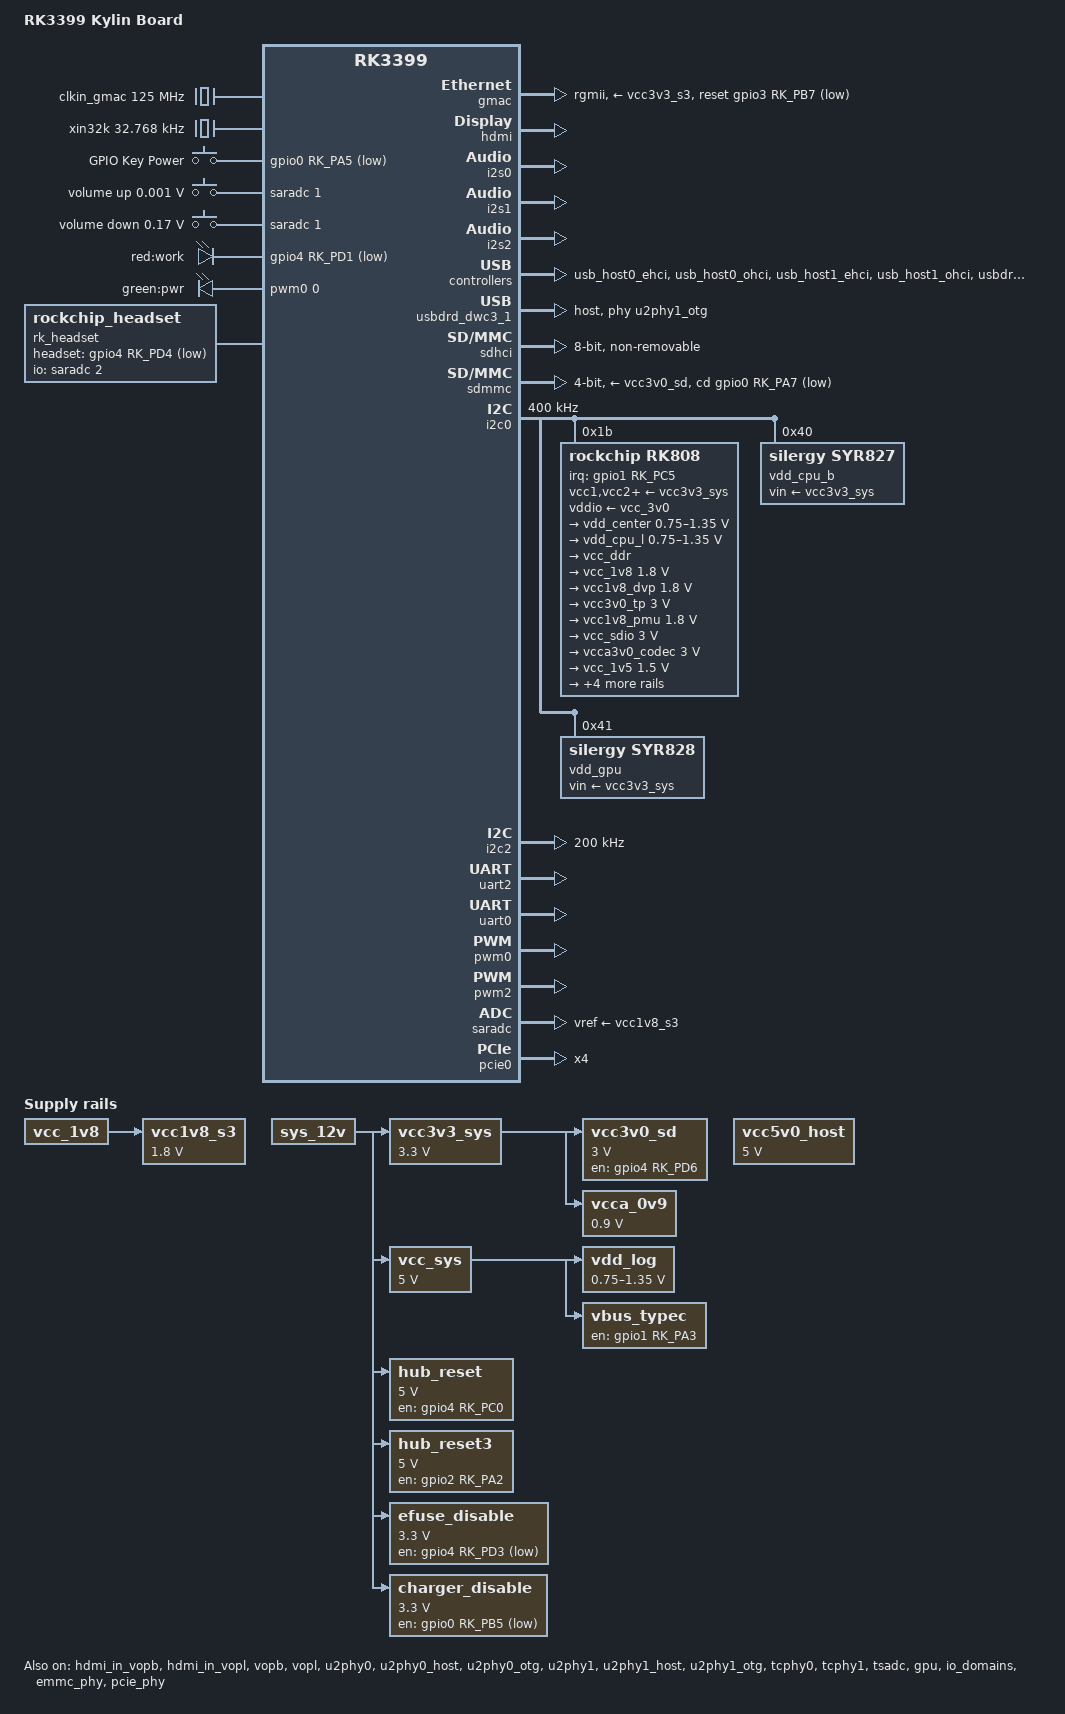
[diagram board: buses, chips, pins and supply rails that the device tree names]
// SPDX-License-Identifier: GPL-2.0-or-later

/dts-v1/;

#include <dt-bindings/gpio/gpio.h>
#include <dt-bindings/input/linux-event-codes.h>
#include <dt-bindings/leds/common.h>
#include <dt-bindings/pinctrl/rockchip.h>
#include <dt-bindings/pwm/pwm.h>
#include "rk3399.dtsi"

/ {
	model = "RK3399 Kylin Board";
	compatible = "rockchip,rk3399-kylin", "rockchip,rk3399";

	chosen {
		stdout-path = "serial2:1500000n8";
	};

	aliases {
		ethernet0 = &gmac;
		mmc0 = &sdhci;
		mmc1 = &sdmmc;
		mmc2 = &sdio0;
	};

	clkin_gmac: external-gmac-clock {
		compatible = "fixed-clock";
		clock-frequency = <125000000>;
		clock-output-names = "clkin_gmac";
		#clock-cells = <0>;
	};

	xin32k: xin32k {
		compatible = "fixed-clock";
		clock-frequency = <32768>;
		clock-output-names = "xin32k";
		#clock-cells = <0>;
	};

	sys_12v: sys-12v {
		compatible = "regulator-fixed";
		regulator-name = "sys_12v";
		regulator-always-on;
		regulator-boot-on;
	};

	vcc3v3_sys: vcc3v3-sys {
		compatible = "regulator-fixed";
		regulator-name = "vcc3v3_sys";
		regulator-always-on;
		regulator-boot-on;
		regulator-min-microvolt = <3300000>;
		regulator-max-microvolt = <3300000>;
		vin-supply = <&sys_12v>;
	};

	/*
	 * vcc5v0_host: no GPIO, always-on (enable-active-high is
	 * informational; USB host power is kept on at all times).
	 */
	vcc5v0_host: vcc5v0-host {
		compatible = "regulator-fixed";
		regulator-name = "vcc5v0_host";
		regulator-min-microvolt = <5000000>;
		regulator-max-microvolt = <5000000>;
		regulator-always-on;
		enable-active-high;
	};

	/*
	 * vcc3v0_sd: SD card power rail.
	 * Enable GPIO: GPIO4_D6 (gpio4 pin 30), active-high.
	 * The vendor DTB omits gpio= but configures the pin via
	 * pinctrl vcc3v0_sd_en; restored here for mainline.
	 */
	vcc3v0_sd: vcc3v0-sd {
		compatible = "regulator-fixed";
		enable-active-high;
		gpio = <&gpio4 RK_PD6 GPIO_ACTIVE_HIGH>;
		pinctrl-names = "default";
		pinctrl-0 = <&vcc3v0_sd_en>;
		regulator-name = "vcc3v0_sd";
		regulator-boot-on;
		regulator-min-microvolt = <3000000>;
		regulator-max-microvolt = <3000000>;
		vin-supply = <&vcc3v3_sys>;
	};

	vcc1v8_s3: vcc1v8-s3 {
		compatible = "regulator-fixed";
		regulator-name = "vcc1v8_s3";
		regulator-always-on;
		regulator-boot-on;
		regulator-min-microvolt = <1800000>;
		regulator-max-microvolt = <1800000>;
		vin-supply = <&vcc_1v8>;
	};

	vcca_0v9: vcca-0v9 {
		compatible = "regulator-fixed";
		regulator-name = "vcca_0v9";
		regulator-always-on;
		regulator-boot-on;
		regulator-min-microvolt = <900000>;
		regulator-max-microvolt = <900000>;
		vin-supply = <&vcc3v3_sys>;
	};

	vcc_sys: vcc-sys {
		compatible = "regulator-fixed";
		enable-active-high;
		regulator-name = "vcc_sys";
		regulator-boot-on;
		regulator-min-microvolt = <5000000>;
		regulator-max-microvolt = <5000000>;
		vin-supply = <&sys_12v>;
	};

	/* PWM-controlled regulator for VDD_LOG */
	vdd_log: vdd-log {
		compatible = "pwm-regulator";
		pwms = <&pwm2 0 25000 PWM_POLARITY_INVERTED>;
		rockchip,pwm_id = <2>;
		rockchip,pwm_voltage = <900000>;
		regulator-name = "vdd_log";
		regulator-min-microvolt = <750000>;
		regulator-max-microvolt = <1350000>;
		vin-supply = <&vcc_sys>;
		regulator-always-on;
		regulator-boot-on;
	};

	/* USB Hub reset GPIO regulators */
	hub_reset: hub-reset {
		compatible = "regulator-fixed";
		enable-active-high;
		gpio = <&gpio4 RK_PC0 GPIO_ACTIVE_HIGH>;
		regulator-name = "hub_reset";
		regulator-always-on;
		regulator-boot-on;
		regulator-min-microvolt = <5000000>;
		regulator-max-microvolt = <5000000>;
		vin-supply = <&sys_12v>;
	};

	hub_reset3: hub-reset3 {
		compatible = "regulator-fixed";
		enable-active-high;
		gpio = <&gpio2 RK_PA2 GPIO_ACTIVE_HIGH>;
		regulator-name = "hub_reset3";
		regulator-always-on;
		regulator-boot-on;
		regulator-min-microvolt = <5000000>;
		regulator-max-microvolt = <5000000>;
		vin-supply = <&sys_12v>;
	};

	/* GPIO4_D3 active-low: holds eFuse in reset (disabled = powered) */
	efuse_disable: efuse-disable {
		compatible = "regulator-fixed";
		enable-active-low;
		gpio = <&gpio4 RK_PD3 GPIO_ACTIVE_LOW>;
		regulator-name = "efuse_disable";
		regulator-always-on;
		regulator-boot-on;
		regulator-min-microvolt = <3300000>;
		regulator-max-microvolt = <3300000>;
		vin-supply = <&sys_12v>;
	};

	/* GPIO0_B5 active-low: disables charger IC */
	charger_disable: charger-disable {
		compatible = "regulator-fixed";
		enable-active-low;
		gpio = <&gpio0 RK_PB5 GPIO_ACTIVE_LOW>;
		regulator-name = "charger_disable";
		regulator-always-on;
		regulator-boot-on;
		regulator-min-microvolt = <3300000>;
		regulator-max-microvolt = <3300000>;
		vin-supply = <&sys_12v>;
	};

	/* VBUS for USB Type-C port 0, GPIO1_A3 active-high */
	vbus_typec: vbus-typec-regulator {
		compatible = "regulator-fixed";
		enable-active-high;
		gpio = <&gpio1 RK_PA3 GPIO_ACTIVE_HIGH>;
		pinctrl-names = "default";
		pinctrl-0 = <&vcc5v0_typec0_en>;
		regulator-name = "vbus_typec";
		vin-supply = <&vcc_sys>;
	};

	sdio_pwrseq: sdio-pwrseq {
		compatible = "mmc-pwrseq-simple";
		clocks = <&rk808 1>;
		clock-names = "ext_clock";
		pinctrl-names = "default";
		pinctrl-0 = <&wifi_enable_h>;
		/* GPIO0_A2 active-low: WiFi module enable (reset-gpios) */
		reset-gpios = <&gpio0 RK_PA2 GPIO_ACTIVE_LOW>;
		status = "disabled";
	};

	hdmi_sound: hdmi-sound {
		compatible = "rockchip,hdmi";
		simple-audio-card,format = "i2s";
		simple-audio-card,mclk-fs = <256>;
		simple-audio-card,name = "hdmi-sound";
		status = "okay";
		rockchip,mclk-fs = <256>;
		rockchip,card-name = "rockchip-hdmi0";
		rockchip,cpu = <&i2s2>;
		rockchip,codec = <&hdmi>;
		rockchip,jack-det;

		simple-audio-card,cpu {
			sound-dai = <&i2s2>;
		};

		simple-audio-card,codec {
			sound-dai = <&hdmi>;
		};
	};

	gpio_keys: gpio-keys {
		compatible = "gpio-keys";
		autorepeat;
		pinctrl-names = "default";
		pinctrl-0 = <&pwrbtn>;

		button-power {
			gpios = <&gpio0 RK_PA5 GPIO_ACTIVE_LOW>;
			linux,code = <KEY_POWER>;
			label = "GPIO Key Power";
			linux,input-type = <EV_KEY>;
			gpio-key,wakeup = <1>;
			debounce-interval = <100>;
		};
	};

	adc_keys: adc-keys {
		compatible = "adc-keys";
		io-channels = <&saradc 1>;
		io-channel-names = "buttons";
		keyup-threshold-microvolt = <1800000>;
		poll-interval = <100>;

		vol-up-key {
			label = "volume up";
			linux,code = <KEY_VOLUMEUP>;
			press-threshold-microvolt = <1000>;
		};

		vol-down-key {
			label = "volume down";
			linux,code = <KEY_VOLUMEDOWN>;
			press-threshold-microvolt = <170000>;
		};
	};

	leds_gpio: leds-gpio {
		compatible = "gpio-leds";
		pinctrl-names = "default";
		pinctrl-0 = <&work_led_pin>;

		work_led: led-work {
			label = "red:work";
			/* GPIO4_D1 active-low */
			gpios = <&gpio4 RK_PD1 GPIO_ACTIVE_LOW>;
			default-state = "on";
			linux,default-trigger = "heartbeat";
		};
	};

	leds_pwm: leds-pwm {
		compatible = "pwm-leds";

		pwr_led: led-pwr {
			label = "green:pwr";
			/* pwm0 ch0, period 25000 ns, inverted */
			pwms = <&pwm0 0 25000 PWM_POLARITY_INVERTED>;
			max-brightness = <255>;
			default-state = "on";
		};
	};

	rk_headset: rk-headset {
		compatible = "rockchip_headset";
		/* GPIO4_D4 active-low: headphone detect */
		headset_gpio = <&gpio4 RK_PD4 GPIO_ACTIVE_LOW>;
		pinctrl-names = "default";
		pinctrl-0 = <&hp_det_l>;
		io-channels = <&saradc 2>;
	};
};

&cpu_l0 { cpu-supply = <&vdd_cpu_l>; };
&cpu_l1 { cpu-supply = <&vdd_cpu_l>; };
&cpu_l2 { cpu-supply = <&vdd_cpu_l>; };
&cpu_l3 { cpu-supply = <&vdd_cpu_l>; };
&cpu_b0 { cpu-supply = <&vdd_cpu_b>; };
&cpu_b1 { cpu-supply = <&vdd_cpu_b>; };


&gmac {
	/*
	 * RGMII with external 125 MHz clock input.
	 * TX delay: 0x28, RX delay: 0x24 (vendor calibrated).
	 * PHY reset: GPIO3_B7 (gpio3 pin 15), active-low.
	 * phy-supply: vcc3v3_s3 (SWITCH_REG1 from RK808).
	 */
	assigned-clocks = <&cru SCLK_RMII_SRC>;
	assigned-clock-parents = <&clkin_gmac>;
	clock_in_out = "input";
	phy-supply = <&vcc3v3_s3>;
	phy-mode = "rgmii";
	pinctrl-names = "default";
	pinctrl-0 = <&rgmii_pins>;
	snps,reset-gpio = <&gpio3 RK_PB7 GPIO_ACTIVE_LOW>;
	snps,reset-active-low;
	snps,reset-delays-us = <0 10000 50000>;
	tx_delay = <0x28>;
	rx_delay = <0x24>;
	snps,txpbl = <4>;
	status = "okay";
};


&hdmi {
	/*
	 * DDC on i2c2 (ff120000, 200 kHz).
	 * CEC pin: GPIO4_C7 via hdmi_cec pinctrl.
	 * Connected to both VOPB and VOPL outputs (via rk3399.dtsi ports).
	 */
	ddc-i2c-bus = <&i2c2>;
	pinctrl-names = "default";
	pinctrl-0 = <&hdmi_cec>;
	status = "okay";
};

&hdmi_in_vopb {
	status = "okay";
};

&hdmi_in_vopl {
	status = "okay";
};

&vopb {
	status = "okay";
	assigned-clocks = <&cru DCLK_VOP0>, <&cru HCLK_VOP0>;
	assigned-clock-rates = <400000000>, <100000000>;
};

&vopb_mmu {
	status = "okay";
};

&vopl {
	status = "okay";
	assigned-clocks = <&cru DCLK_VOP1>, <&cru HCLK_VOP1>;
	assigned-clock-rates = <400000000>, <100000000>;
};

&vopl_mmu {
	status = "okay";
};

/* i2s0 @ ff880000: 8-channel playback & capture */
&i2s0 {
	rockchip,playback-channels = <8>;
	rockchip,capture-channels = <8>;
	status = "okay";
};

/* i2s1 @ ff890000: 2-channel */
&i2s1 {
	rockchip,playback-channels = <2>;
	rockchip,capture-channels = <2>;
	status = "okay";
};

/* i2s2 @ ff8a0000: used as CPU DAI for HDMI audio */
&i2s2 {
	status = "okay";
};

/*
 * USB Host 0 (fe380000 EHCI + fe3a0000 OHCI):
 *   USB2 PHY0 host-port (u2phy0_host).
 *   phy-supply: vcc5v0_host (always-on).
 */
&usb_host0_ehci {
	status = "okay";
};

&usb_host0_ohci {
	status = "okay";
};

/*
 * USB Host 1 (fe3c0000 EHCI + fe3e0000 OHCI):
 *   USB2 PHY1 host-port (u2phy1_host).
 *   phy-supply: vcc5v0_host (always-on).
 */
&usb_host1_ehci {
	status = "okay";
};

&usb_host1_ohci {
	status = "okay";
};

&u2phy0 {
	status = "okay";
};

&u2phy0_host {
	phy-supply = <&vcc5v0_host>;
	status = "okay";
};

&u2phy0_otg {
	status = "okay";
};

&u2phy1 {
	status = "okay";
};

&u2phy1_host {
	phy-supply = <&vcc5v0_host>;
	status = "okay";
};

&u2phy1_otg {
	status = "okay";
};

/*
 * Type-C PHY 0 (ff7c0000): provides DP and USB3 for usbdrd3_0.
 * Type-C PHY 1 (ff800000): provides DP and USB3 for usbdrd3_1.
 */
&tcphy0 {
	status = "okay";
};

&tcphy1 {
	status = "okay";
};

/*
 * usbdrd3_0 (fe800000): USB3 DRD controller 0.
 * Inner dwc3: dr_mode = "otg", disabled (no Type-C connector wired
 * up as default host on this board per vendor DTB).
 */
&usbdrd3_0 {
	status = "okay";
};

&usbdrd_dwc3_0 {
	dr_mode = "otg";
	phy-names = "usb2-phy", "usb3-phy";
	phys = <&u2phy0_otg>, <&tcphy0_usb3>;
	phy_type = "utmi_wide";
	snps,dis_enblslpm_quirk;
	snps,dis-u2-freeclk-exists-quirk;
	snps,dis_u2_susphy_quirk;
	snps,dis-del-phy-power-chg-quirk;
	snps,dis-tx-ipgap-linecheck-quirk;
	snps,xhci-trb-ent-quirk;
	status = "disabled";
};

/*
 * usbdrd3_1 (fe900000): USB3 DRD controller 1.
 * Inner dwc3: dr_mode = "host" (USB3 host port on board).
 */
&usbdrd3_1 {
	status = "okay";
};

&usbdrd_dwc3_1 {
	dr_mode = "host";
	phy-names = "usb2-phy", "usb3-phy";
	phys = <&u2phy1_otg>, <&tcphy1_usb3>;
	phy_type = "utmi_wide";
	snps,dis_enblslpm_quirk;
	snps,dis-u2-freeclk-exists-quirk;
	snps,dis_u2_susphy_quirk;
	snps,dis-del-phy-power-chg-quirk;
	snps,dis-tx-ipgap-linecheck-quirk;
	snps,xhci-trb-ent-quirk;
	status = "okay";
};

&sdhci {
	/*
	 * eMMC HS400 1.8V, 8-bit bus, non-removable.
	 * Clock: 200 MHz (assigned in rk3399.dtsi).
	 */
	bus-width = <8>;
	mmc-hs400-1_8v;
	mmc-hs400-enhanced-strobe;
	no-sdio;
	no-sd;
	non-removable;
	keep-power-in-suspend;
	status = "okay";
};

&sdmmc {
	/*
	 * TF/SD card slot, 4-bit bus.
	 * CD: GPIO0_B7 (gpio0 pin 7), active-low (card present = low).
	 * vmmc:  vcc3v0_sd (GPIO4_D6 controlled).
	 * vqmmc: vcc_sdio  (RK808 LDO_REG4, 3.0 V).
	 * clock-frequency: 50 MHz (SD HS).
	 */
	clock-frequency = <50000000>;
	clock-freq-min-max = <400000 150000000>;
	/*
	 * CD: GPIO0_A7 (vendor: gpio0 pin 7 = PA7), active-low.
	 * Pin 7 < 8, so bank A: RK_PA7.
	 */
	cd-gpios = <&gpio0 RK_PA7 GPIO_ACTIVE_LOW>;
	no-sdio;
	no-mmc;
	bus-width = <4>;
	cap-mmc-highspeed;
	cap-sd-highspeed;
	disable-wp;
	num-slots = <1>;
	vmmc-supply = <&vcc3v0_sd>;
	vqmmc-supply = <&vcc_sdio>;
	pinctrl-names = "default";
	pinctrl-0 = <&sdmmc_clk &sdmmc_cmd &sdmmc_cd &sdmmc_bus4>;
	status = "okay";
};

&sdio0 {
	/*
	 * SDIO WiFi slot. Disabled by default (board may not populate).
	 * clock-freq-min-max matches vendor DTB.
	 */
	clock-freq-min-max = <200000 150000000>;
	supports-sdio;
	bus-width = <4>;
	disable-wp;
	cap-sd-highspeed;
	cap-sdio-irq;
	keep-power-in-suspend;
	mmc-pwrseq = <&sdio_pwrseq>;
	non-removable;
	num-slots = <1>;
	pinctrl-names = "default";
	pinctrl-0 = <&sdio0_bus4 &sdio0_cmd &sdio0_clk>;
	sd-uhs-sdr104;
	status = "disabled";
};

/*
 * i2c0 @ ff3c0000 (PMU domain I2C):
 *   - RK808 PMIC at 0x1b
 *   - SYR827 (vdd_cpu_b) at 0x40
 *   - SYR828 (vdd_gpu)   at 0x41
 * 400 kHz, rising 180 ns, falling 30 ns.
 */
&i2c0 {
	i2c-scl-rising-time-ns = <180>;
	i2c-scl-falling-time-ns = <30>;
	clock-frequency = <400000>;
	status = "okay";

	rk808: pmic@1b {
		compatible = "rockchip,rk808";
		reg = <0x1b>;
		interrupt-parent = <&gpio1>;
		interrupts = <RK_PC5 IRQ_TYPE_LEVEL_LOW>;
		#clock-cells = <1>;
		clock-output-names = "xin32k", "rk808-clkout2";
		pinctrl-names = "default";
		pinctrl-0 = <&pmic_int_l>;
		rockchip,system-power-controller;
		wakeup-source;

		vcc1-supply  = <&vcc3v3_sys>;
		vcc2-supply  = <&vcc3v3_sys>;
		vcc3-supply  = <&vcc3v3_sys>;
		vcc4-supply  = <&vcc3v3_sys>;
		vcc6-supply  = <&vcc3v3_sys>;
		vcc7-supply  = <&vcc3v3_sys>;
		vcc8-supply  = <&vcc3v3_sys>;
		vcc9-supply  = <&vcc3v3_sys>;
		vcc10-supply = <&vcc3v3_sys>;
		vcc11-supply = <&vcc3v3_sys>;
		vcc12-supply = <&vcc3v3_sys>;
		vddio-supply = <&vcc_3v0>;

		regulators {
			/* DCDC1: VDD_CENTER (750–1350 mV) */
			vdd_center: DCDC_REG1 {
				regulator-name = "vdd_center";
				regulator-always-on;
				regulator-boot-on;
				regulator-min-microvolt = <750000>;
				regulator-max-microvolt = <1350000>;
				regulator-ramp-delay = <6001>;

				regulator-state-mem {
					regulator-off-in-suspend;
				};
			};

			/* DCDC2: VDD_CPU_L (750–1350 mV) */
			vdd_cpu_l: DCDC_REG2 {
				regulator-name = "vdd_cpu_l";
				regulator-always-on;
				regulator-boot-on;
				regulator-min-microvolt = <750000>;
				regulator-max-microvolt = <1350000>;
				regulator-ramp-delay = <6001>;

				regulator-state-mem {
					regulator-off-in-suspend;
				};
			};

			/* DCDC3: VCC_DDR */
			vcc_ddr: DCDC_REG3 {
				regulator-name = "vcc_ddr";
				regulator-always-on;
				regulator-boot-on;

				regulator-state-mem {
					regulator-on-in-suspend;
				};
			};

			/* DCDC4: VCC_1V8 */
			vcc_1v8: DCDC_REG4 {
				regulator-name = "vcc_1v8";
				regulator-always-on;
				regulator-boot-on;
				regulator-min-microvolt = <1800000>;
				regulator-max-microvolt = <1800000>;

				regulator-state-mem {
					regulator-on-in-suspend;
					regulator-suspend-microvolt = <1800000>;
				};
			};

			/* LDO1: VCC1V8_DVP (1.8 V for camera) */
			vcc1v8_dvp: LDO_REG1 {
				regulator-name = "vcc1v8_dvp";
				regulator-always-on;
				regulator-boot-on;
				regulator-min-microvolt = <1800000>;
				regulator-max-microvolt = <1800000>;

				regulator-state-mem {
					regulator-off-in-suspend;
				};
			};

			/* LDO2: VCC3V0_TP (3.0 V for touch panel) */
			vcc3v0_tp: LDO_REG2 {
				regulator-name = "vcc3v0_tp";
				regulator-always-on;
				regulator-boot-on;
				regulator-min-microvolt = <3000000>;
				regulator-max-microvolt = <3000000>;

				regulator-state-mem {
					regulator-off-in-suspend;
				};
			};

			/* LDO3: VCC1V8_PMU (1.8 V, keep in suspend) */
			vcc1v8_pmu: LDO_REG3 {
				regulator-name = "vcc1v8_pmu";
				regulator-always-on;
				regulator-boot-on;
				regulator-min-microvolt = <1800000>;
				regulator-max-microvolt = <1800000>;

				regulator-state-mem {
					regulator-on-in-suspend;
					regulator-suspend-microvolt = <1800000>;
				};
			};

			/* LDO4: VCC_SDIO (3.0 V for SDMMC IO, keep in suspend) */
			vcc_sdio: LDO_REG4 {
				regulator-name = "vcc_sdio";
				regulator-always-on;
				regulator-boot-on;
				regulator-min-microvolt = <3000000>;
				regulator-max-microvolt = <3000000>;

				regulator-state-mem {
					regulator-on-in-suspend;
					regulator-suspend-microvolt = <3000000>;
				};
			};

			/* LDO5: VCCA3V0_CODEC (3.0 V for audio codec) */
			vcca3v0_codec: LDO_REG5 {
				regulator-name = "vcca3v0_codec";
				regulator-always-on;
				regulator-boot-on;
				regulator-min-microvolt = <3000000>;
				regulator-max-microvolt = <3000000>;

				regulator-state-mem {
					regulator-off-in-suspend;
				};
			};

			/* LDO6: VCC_1V5 (1.5 V, keep in suspend) */
			vcc_1v5: LDO_REG6 {
				regulator-name = "vcc_1v5";
				regulator-always-on;
				regulator-boot-on;
				regulator-min-microvolt = <1500000>;
				regulator-max-microvolt = <1500000>;

				regulator-state-mem {
					regulator-on-in-suspend;
					regulator-suspend-microvolt = <1500000>;
				};
			};

			/* LDO7: VCCA1V8_CODEC (1.8 V for audio codec) */
			vcca1v8_codec: LDO_REG7 {
				regulator-name = "vcca1v8_codec";
				regulator-always-on;
				regulator-boot-on;
				regulator-min-microvolt = <1800000>;
				regulator-max-microvolt = <1800000>;

				regulator-state-mem {
					regulator-off-in-suspend;
				};
			};

			/* LDO8: VCC_3V0 (3.0 V, keep in suspend; also vddio for RK808) */
			vcc_3v0: LDO_REG8 {
				regulator-name = "vcc_3v0";
				regulator-always-on;
				regulator-boot-on;
				regulator-min-microvolt = <3000000>;
				regulator-max-microvolt = <3000000>;

				regulator-state-mem {
					regulator-on-in-suspend;
					regulator-suspend-microvolt = <3000000>;
				};
			};

			/* SWITCH1: VCC3V3_S3 (3.3 V, also alias vcc_lan for GMAC) */
			vcc3v3_s3: SWITCH_REG1 {
				regulator-name = "vcc3v3_s3";
				regulator-always-on;
				regulator-boot-on;

				regulator-state-mem {
					regulator-off-in-suspend;
				};
			};

			/* SWITCH2: VCC3V3_S0 */
			vcc3v3_s0: SWITCH_REG2 {
				regulator-name = "vcc3v3_s0";
				regulator-always-on;
				regulator-boot-on;

				regulator-state-mem {
					regulator-off-in-suspend;
				};
			};
		};
	};

	/*
	 * SYR827: vdd_cpu_b (big-cluster CPU supply).
	 * GPIO1_C1 (pin 17) → vsel1_pin pinctrl → voltage selection.
	 * 716–1500 mV, 1000 µV/µs ramp.
	 */
	vdd_cpu_b: regulator@40 {
		compatible = "silergy,syr827";
		regulator-compatible = "fan53555-reg";
		reg = <0x40>;
		fcs,suspend-voltage-selector = <1>;
		pinctrl-names = "default";
		pinctrl-0 = <&vsel1_pin>;
		regulator-name = "vdd_cpu_b";
		regulator-min-microvolt = <716596>;
		regulator-max-microvolt = <1500000>;
		regulator-ramp-delay = <1000>;
		regulator-initial-state = <3>;
		regulator-always-on;
		regulator-boot-on;
		vin-supply = <&vcc3v3_sys>;

		regulator-state-mem {
			regulator-off-in-suspend;
		};
	};

	/*
	 * SYR828: vdd_gpu (GPU supply).
	 * GPIO1_A0 (pin 0) → vsel2_pin pinctrl → voltage selection.
	 * 735–1400 mV, 1000 µV/µs ramp.
	 */
	vdd_gpu: regulator@41 {
		compatible = "silergy,syr828";
		regulator-compatible = "fan53555-reg";
		reg = <0x41>;
		fcs,suspend-voltage-selector = <1>;
		pinctrl-names = "default";
		pinctrl-0 = <&vsel2_pin>;
		regulator-name = "vdd_gpu";
		regulator-min-microvolt = <735000>;
		regulator-max-microvolt = <1400000>;
		regulator-ramp-delay = <1000>;
		regulator-always-on;
		regulator-boot-on;
		vin-supply = <&vcc3v3_sys>;

		regulator-state-mem {
			regulator-off-in-suspend;
		};
	};
};

/*
 * i2c2 @ ff120000: used for HDMI DDC.
 * 200 kHz, rising 475 ns, falling 26 ns (capacitive load on HDMI DDC).
 */
&i2c2 {
	i2c-scl-rising-time-ns = <475>;
	i2c-scl-falling-time-ns = <26>;
	clock-frequency = <200000>;
	status = "okay";
};

&uart2 {
	pinctrl-names = "default";
	pinctrl-0 = <&uart2c_xfer>;
	status = "okay";
};

/* UART0 @ ff180000 (debug / BT): enabled with CTS */
&uart0 {
	pinctrl-names = "default";
	pinctrl-0 = <&uart0_xfer &uart0_cts>;
	status = "okay";
};

/* pwm0 @ ff420000: green power LED */
&pwm0 {
	status = "okay";
};

/* pwm2 @ ff420020: vdd_log PWM regulator */
&pwm2 {
	status = "okay";
};

&saradc {
	vref-supply = <&vcc1v8_s3>;
	status = "okay";
};

&tsadc {
	rockchip,hw-tshut-mode = <1>;     /* CRU reset mode */
	rockchip,hw-tshut-polarity = <1>; /* active-high */
	status = "okay";
};

&pcie0 {
	/* EP_GPIOS: GPIO4_D2 active-high (PCIe reset/power) */
	ep-gpios = <&gpio4 RK_PD2 GPIO_ACTIVE_HIGH>;
	num-lanes = <4>;
	pinctrl-names = "default";
	pinctrl-0 = <&pcie_clkreqn_cpm>;
	max-link-speed = <1>;
	status = "okay";
};

&gpu {
	mali-supply = <&vdd_gpu>;
	status = "okay";
};

&io_domains {
	status = "okay";
	audio-supply    = <&vcc_3v0>;
	bt656-supply    = <&vcc_3v0>;
	gpio1830-supply = <&vcc_3v0>;
	sdmmc-supply    = <&vcc_sdio>;
};

&pmu_io_domains {
	status = "okay";
	pmu1830-supply = <&vcc_3v0>;
};

&emmc_phy {
	status = "okay";
};

&pcie_phy {
	status = "okay";
};

&pinctrl {
	/*
	 * vcc3v0_sd_en: GPIO4_D6 as GPIO output (controls SD power FET).
	 * Defined here because mainline rk3399.dtsi sdmmc group does not
	 * include this board-specific enable GPIO.
	 */
	sdmmc {
		vcc3v0_sd_en: vcc3v0-sd-en {
			rockchip,pins = <4 RK_PD6 RK_FUNC_GPIO &pcfg_pull_none>;
		};
	};

	pmic {
		vsel1_pin: vsel1-pin {
			/* GPIO1_C1: SYR827 voltage select */
			rockchip,pins = <1 RK_PC1 RK_FUNC_GPIO &pcfg_pull_down>;
		};

		vsel2_pin: vsel2-pin {
			/* GPIO1_A0: SYR828 voltage select */
			rockchip,pins = <1 RK_PA0 RK_FUNC_GPIO &pcfg_pull_down>;
		};

		pmic_int_l: pmic-int-l {
			/* GPIO1_C5: RK808 interrupt, active-low */
			rockchip,pins = <1 RK_PC5 RK_FUNC_GPIO &pcfg_pull_up>;
		};
	};

	buttons {
		pwrbtn: pwrbtn {
			/* GPIO0_A5: power button, pull-up */
			rockchip,pins = <0 RK_PA5 RK_FUNC_GPIO &pcfg_pull_up>;
		};
	};

	leds {
		work_led_pin: work-led-pin {
			/* GPIO4_D1: work LED */
			rockchip,pins = <4 RK_PD1 RK_FUNC_GPIO &pcfg_pull_none>;
		};
	};

	headset {
		hp_det_l: hp-det-l {
			/* GPIO4_D4: headphone detect, pull-up */
			rockchip,pins = <4 RK_PD4 RK_FUNC_GPIO &pcfg_pull_up>;
		};
	};

	sdio-pwrseq {
		wifi_enable_h: wifi-enable-h {
			/* GPIO0_A2: WiFi enable */
			rockchip,pins = <0 RK_PA2 RK_FUNC_GPIO &pcfg_pull_none>;
		};
	};

	usb-typec {
		usbc0_int: usbc0-int {
			/* GPIO1_A2: Type-C interrupt */
			rockchip,pins = <1 RK_PA2 RK_FUNC_GPIO &pcfg_pull_up>;
		};

		vcc5v0_typec0_en: vcc5v0-typec0-en {
			/* GPIO1_A3: Type-C VBUS enable */
			rockchip,pins = <1 RK_PA3 RK_FUNC_GPIO &pcfg_pull_none>;
		};
	};
};
